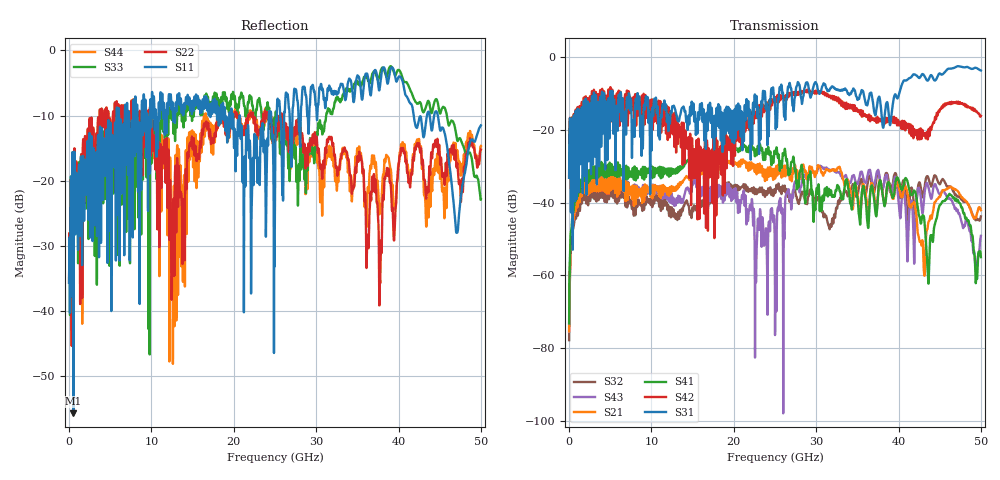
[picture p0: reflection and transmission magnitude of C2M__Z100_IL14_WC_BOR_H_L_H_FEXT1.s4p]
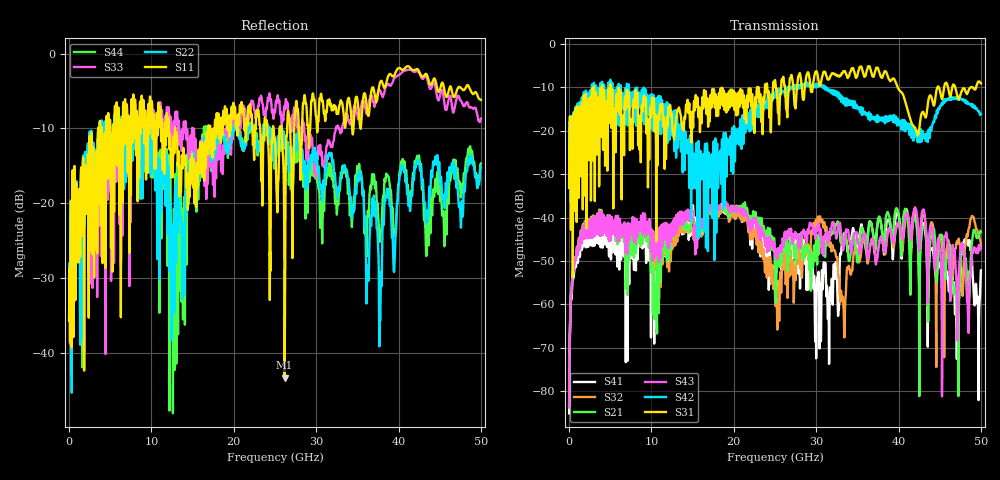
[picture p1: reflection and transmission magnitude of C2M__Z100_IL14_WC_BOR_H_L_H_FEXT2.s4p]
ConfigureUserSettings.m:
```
function [simSettings,simResources] = ConfigureUserSettings()
% Simulation Setting Configuration
    
    % Load S-parameter data (channel and crosstalk)
    % simSettings.channelFilename = 'DPO_10in_Meg7_THRU.s4p';
    % simSettings.crosstalkFilenames = {
    %                    'DPO_10in_Meg7_NENF1415.s4p',...
    %                    'DPO_10in_Meg7_NENF1112.s4p',...
    %                    'DPO_10in_Meg7_NENF89.s4p',...
    %                    'DPO_10in_Meg7_FENH1415.s4p',...
    %                    'DPO_10in_Meg7_FENH1112.s4p',...
    %                    'DPO_10in_Meg7_FENH89.s4p',...
    %                    'DPO_10in_Meg7_FENG1415.s4p',...
    %                    'DPO_10in_Meg7_FENG89.s4p'};

    % simSettings.channelFilename = 'DPO_12in_Meg7_THRU.s4p';
    % simSettings.crosstalkFilenames = {
    %                    'DPO_12in_Meg7_NENF1415.s4p',...
    %                    'DPO_12in_Meg7_NENF1112.s4p',...
    %                    'DPO_12in_Meg7_NENF89.s4p',...
    %                    'DPO_12in_Meg7_FENH1415.s4p',...
    %                    'DPO_12in_Meg7_FENH1112.s4p',...
    %                    'DPO_12in_Meg7_FENH89.s4p',...
    %                    'DPO_12in_Meg7_FENG1415.s4p',...
    %                    'DPO_12in_Meg7_FENG89.s4p'};

    % simSettings.channelFilename = 'DPO_14in_Meg7_THRU.s4p';
    % simSettings.crosstalkFilenames = {
    %                    'DPO_14in_Meg7_NENF1415.s4p',...
    %                    'DPO_14in_Meg7_NENF1112.s4p',...
    %                    'DPO_14in_Meg7_NENF89.s4p',...
    %                    'DPO_14in_Meg7_FENH1415.s4p',...
    %                    'DPO_14in_Meg7_FENH1112.s4p',...
    %                    'DPO_14in_Meg7_FENH89.s4p',...
    %                    'DPO_14in_Meg7_FENG1415.s4p',...
    %                    'DPO_14in_Meg7_FENG89.s4p'};

    simSettings.channelFilename = 'C2M__Z100_IL14_WC_BOR_H_L_H_THRU.s4p';
    simSettings.crosstalkFilenames = {
                       'C2M__Z100_IL14_WC_BOR_H_L_H_FEXT1.s4p',...
                       'C2M__Z100_IL14_WC_BOR_H_L_H_FEXT2.s4p',...
                       'C2M__Z100_IL14_WC_BOR_H_L_H_FEXT3.s4p',...
                       'C2M__Z100_IL14_WC_BOR_H_L_H_NEXT1.s4p',...
                       'C2M__Z100_IL14_WC_BOR_H_L_H_NEXT2.s4p',...
                       'C2M__Z100_IL14_WC_BOR_H_L_H_NEXT3.s4p',...
                       'C2M__Z100_IL14_WC_BOR_H_L_H_NEXT4.s4p'};

    % simSettings.channelFilename = 'TEC_Whisper27in_THRU_G14G15_07202016.s4p';
    % simSettings.crosstalkFilenames = {
    %                    'TEC_Whisper27in_FEXT_F11F12_to_G14G15_07212016.s4p',...
    %                    'TEC_Whisper27in_FEXT_F14F15_to_G14G15_07212016.s4p',...
    %                    'TEC_Whisper27in_FEXT_F17F18_to_G14G15_07212016.s4p',...
    %                    'TEC_Whisper27in_FEXT_G11G12_to_G14G15_07212016.s4p',...
    %                    'TEC_Whisper27in_FEXT_G17G18_to_G14G15_07212016.s4p',...
    %                    'TEC_Whisper27in_FEXT_H11H12_to_G14G15_07212016.s4p',...
    %                    'TEC_Whisper27in_FEXT_H14H15_to_G14G15_07212016.s4p',...
    %                    'TEC_Whisper27in_FEXT_H17H18_to_G14G15_07212016.s4p',...
    %                    'TEC_Whisper27in_NEXT_F11F12_to_G14G15_07212016.s4p',...
    %                    'TEC_Whisper27in_NEXT_F14F15_to_G14G15_07212016.s4p',...
    %                    'TEC_Whisper27in_NEXT_F17F18_to_G14G15_07212016.s4p',...
    %                    'TEC_Whisper27in_NEXT_G11G12_to_G14G15_07212016.s4p',...
    %                    'TEC_Whisper27in_NEXT_G17G18_to_G14G15_07212016.s4p',...
    %                    'TEC_Whisper27in_NEXT_H11H12_to_G14G15_07212016.s4p',...
    %                    'TEC_Whisper27in_NEXT_H14H15_to_G14G15_07212016.s4p',...
    %                    'TEC_Whisper27in_NEXT_H17H18_to_G14G15_07212016.s4p'};

    % Package Parameters
    simSettings.Cd = 100e-15;                                                   % Die-side capacitance (F) in π ladder model
    simSettings.Ls = 120e-12;                                                   % Series inductance (H) in π ladder model
    simSettings.Rs = 0;                                                         % Series resistance (Ohm) in π ladder model
    simSettings.Cb = 30e-15;                                                    % Bump-side capacitance (F) in π ladder model

    % Pre-cursors and post-cursors
    simSettings.trackPre  = 50;                                                 % Number of pre-cursors to track
    simSettings.trackPost = 100;                                                % Number of post-cursors to track
    simSettings.plotPre   = 5;                                                  % Number of pre-cursors to plot
    simSettings.plotPost  = 12;                                                 % Number of post-cursors to plot
    
    % Link settings
    simSettings.dataRate = 56 * 1e9;                                           % Data Rate (Hz)
    simSettings.pam = 4;                                                        % PAM levels (e.g. 2, 3, 4, 6, 8)
    simSettings.targetSER = 1e-4;                                               % Target SER
    simSettings.samplesPerSymb = 64;                                            % Samples per symbol
    simSettings.numSamples = 2^12;                                              % Number of samples to plot
    simSettings.numPlotPoints = 10000;                                          % Number of points to plot
    simSettings.jitterSampling = 0.01;                                          % Sampling jitter in UI (e.g., 0.01)
    simSettings.Tt = 0.4;                                                       % 20% - 80% rise/fall time in UI (e.g., 0.4)
    simSettings.txSNDR = 33;                                                    % In-band (Nyquist) TX SNDR in dB at 112 Gsym/s
    simSettings.rxPSD = 8e-9;                                                   % RX PSD (V^2/GHz)
    simSettings.diracSeparation = 0.02;                                         % Jitter pdf generation parameter in UI (e.g., 0.02)
    
    % Optimization Settings
    simSettings.opt.numTXFFE = 5;                                               % Number of precursor taps + 1 (main cursor)
    simSettings.opt.numRXFFE = 15;                                              % Number of RX FFE taps
    simSettings.opt.numRXDFE = 1;                                               % Number of RX DFE taps
    
    % Define parameters to sweep below in the format of (start : step : end)
    % or [val1, val2, val3, ...]

    % TX and RX termination resistance (Ohm)
    simSettings.sweep.txTerminationResistance = 50;
    simSettings.sweep.rxTerminationResistance = 50;
    
    % CTLE pole frequencies (Hz)
    % simSettings.sweep.ctle.fp1 = (20e9 : 500e7 : 30e9);
    % simSettings.sweep.ctle.fp2 = (500e6 : 100e6 : 900e6);
    % simSettings.sweep.ctle.fp3 = (50e9 : 1e9 : 56e9);
    simSettings.sweep.ctle.fp1 = (11.5e9 : 1000e7 : 21.5e9);
    simSettings.sweep.ctle.fp2 = (285e6 : 100e6 : 685e6);
    simSettings.sweep.ctle.fp3 = (28.6e9 : 2e9 : 36.6e9);
    
    % CTLE DC gains (dB)
    simSettings.sweep.ctle.g1 = (-20 : 5 : 0);
    simSettings.sweep.ctle.g2 = (-6 : 2 : 0);
    
    % RX front-end bandwidth limitation (Hz)
    % simSettings.sweep.rxBW = (25e9 : 1000e6 : 31e9);
    simSettings.sweep.rxBW = (25e9 : 1e9 : 31e9);

    % VGA gain (dB) and bandwidth (Hz)
    simSettings.sweep.vga.gain = (0 : 5 : 20);
    simSettings.sweep.vga.bw = 1e12;
    
    % Oversampling period
    simSettings.ts = 1/ simSettings.dataRate / simSettings.samplesPerSymb;

    % Simulation resources: initialize parallel pool
    if isempty(gcp('nocreate'))
        parpool;
    end
    
    % Simulation Resources: Do all of the rational fitting here
    [simSettings,simResources] = FitAllRationalModels(simSettings);
end


function [simSettings, simResources] = FitAllRationalModels(simSettings)
    cacheDir = 'rational_cache';
    if ~exist(cacheDir, 'dir')
        mkdir(cacheDir);  % Create a folder
    end

    %% === Main Channel ===
    baseName = matlab.lang.makeValidName(simSettings.channelFilename);
    cachePath = fullfile(cacheDir, [baseName '_main.mat']);

    if isfile(cachePath)
        fprintf('[INFO] Loading cached rational model for main channel: %s\n', simSettings.channelFilename);
        channel = load(cachePath, 'channel');
        simResources.channel = channel.channel;
        
        % Still need to load z0 separately
        S = sparameters(simSettings.channelFilename);
        simSettings.z0 = S.Impedance;
    else
        fprintf('[INFO] Fitting rational model for main channel: %s\n', simSettings.channelFilename);
        S = sparameters(simSettings.channelFilename);
        diffdata = s2sdd(S.Parameters);
        f = S.Frequencies;
        simSettings.z0 = S.Impedance;

        S_params = {
            squeeze(diffdata(1,1,:));
            squeeze(diffdata(1,2,:));
            squeeze(diffdata(2,1,:));
            squeeze(diffdata(2,2,:));
        };

        rS_params = cell(1,4);
        parfor k = 1:4
            rS_params{k} = rational(f, S_params{k}, 'Tolerance', -80);
        end

        channel.rS11 = rS_params{1};
        channel.rS12 = rS_params{2};
        channel.rS21 = rS_params{3};
        channel.rS22 = rS_params{4};

        simResources.channel = channel;
        save(cachePath, 'channel', '-v7.3');
        fprintf('[INFO] Saved main channel model: %s\n', cachePath);
    end

    %% === Crosstalk Channels ===
    numXT = numel(simSettings.crosstalkFilenames);
    filenames = simSettings.crosstalkFilenames;
    xtModels = cell(1, numXT);
    xtCachePaths = cell(1, numXT);
    xtNeedFit = false(1, numXT);

    for i = 1:numXT
        baseName = matlab.lang.makeValidName(filenames{i});
        path = fullfile(cacheDir, [baseName '_xt.mat']);
        xtCachePaths{i} = path;
        if ~isfile(path)
            fprintf('[INFO] Crosstalk model NOT found. Will fit: %s\n', filenames{i});
            xtNeedFit(i) = true;
        else
            fprintf('[INFO] Crosstalk model cached. Will load: %s\n', filenames{i});
        end
    end

    % Fit only the models that are missing
    parfor i = 1:numXT
        if xtNeedFit(i)
            file = filenames{i};
            S = sparameters(file);
            diffdata = s2sdd(S.Parameters);
            f = S.Frequencies;

            S_params = {
                squeeze(diffdata(1,1,:));
                squeeze(diffdata(1,2,:));
                squeeze(diffdata(2,1,:));
                squeeze(diffdata(2,2,:));
            };

            rS_params = cell(1,4);
            for k = 1:4
                rS_params{k} = rational(f, S_params{k}, 'Tolerance', -80);
            end

            localModel = struct();
            localModel.rS11 = rS_params{1};
            localModel.rS12 = rS_params{2};
            localModel.rS21 = rS_params{3};
            localModel.rS22 = rS_params{4};

            xtModels{i} = localModel;  % Safe to collect for post-parfor write
        end
    end

    % Save and assign to simResources
    simResources.crosstalk = repmat(struct('rS11', [], 'rS12', [], 'rS21', [], 'rS22', []), 1, numXT);
    for i = 1:numXT
        if xtNeedFit(i)
            model = xtModels{i};
            save(xtCachePaths{i}, 'model', '-v7.3');
            fprintf('[INFO] Saved crosstalk model: %s\n', filenames{i});
        else
            data = load(xtCachePaths{i}, 'model');
            model = data.model;
            fprintf('[INFO] Loaded crosstalk model: %s\n', filenames{i});
        end
        simResources.crosstalk(i) = model;
    end
end
```
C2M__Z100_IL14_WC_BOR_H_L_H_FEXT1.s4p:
# GHz S MA R 50
! S-Parameters data
! Freq  magS11  angS11  magS12  angS12  magS13  angS13  magS14  angS14
!  magS21  angS21  magS22  angS22  magS23  angS23  magS24  angS24
!  magS31  angS31  magS32  angS32  magS33  angS33  magS34  angS34
!  magS41  angS41  magS42  angS42  magS43  angS43  magS44  angS44
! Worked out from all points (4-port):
!   5000 points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, 10 MHz to 50 GHz, reference 50 ohm
!   strongest paths, dB at 10 MHz, 12.51 GHz, 25.01 GHz, 37.51 GHz, 50 GHz:
!     S31: -33.2, -13.7, -13.1, -11.5, -3.7
!     S42: -33.1, -16.5, -11.6, -17.6, -16.1
!     S41: -73.2, -31.6, -26.5, -37.7, -55.0
!     S21: -75.4, -36.5, -33.2, -37.7, -42.1
!     S43: -75.5, -38.7, -76.4, -31.0, -49.1
!     S32: -77.8, -42.2, -37.3, -31.6, -43.8
!   lowest |S11| = -55.7 dB at 540 MHz (marker M1), VSWR 1.00, Z = 50.1 - j0.0845 ohm
!   |S11| at or under -10 dB: start of sweep to 5.766 GHz; 20.73 GHz to 24.26 GHz (3.532 GHz wide, 15.7 % of centre); 44.77 GHz to end of sweep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
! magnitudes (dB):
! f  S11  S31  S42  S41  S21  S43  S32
! 10 MHz  -35.7  -33.2  -33.1  -73.2  -75.4  -75.5  -77.8
! 540 MHz  -55.7  -17.5  -16.9  -42.3  -44.7  -44.3  -46.8
! 50 GHz  -11.5  -3.7  -16.1  -55.0  -42.1  -49.1  -43.8
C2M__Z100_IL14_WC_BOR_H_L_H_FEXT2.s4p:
# GHz S MA R 50
! S-Parameters data
! Freq  magS11  angS11  magS12  angS12  magS13  angS13  magS14  angS14
!  magS21  angS21  magS22  angS22  magS23  angS23  magS24  angS24
!  magS31  angS31  magS32  angS32  magS33  angS33  magS34  angS34
!  magS41  angS41  magS42  angS42  magS43  angS43  magS44  angS44
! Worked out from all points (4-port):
!   5000 points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, 10 MHz to 50 GHz, reference 50 ohm
!   strongest paths, dB at 10 MHz, 12.51 GHz, 25.01 GHz, 37.51 GHz, 50 GHz:
!     S31: -33.2, -17.1, -8.3, -5.6, -9.1
!     S42: -33.1, -16.5, -11.6, -17.6, -16.1
!     S43: -83.5, -43.8, -48.5, -47.8, -47.0
!     S21: -83.8, -44.8, -55.2, -40.3, -43.3
!     S32: -83.2, -47.2, -58.4, -47.7, -46.6
!     S41: -85.1, -45.2, -53.0, -40.7, -52.2
!   lowest |S11| = -43.4 dB at 26.17 GHz (marker M1), VSWR 1.01, Z = 49.3 - j0.14 ohm
!   |S11| at or under -10 dB: start of sweep to 3.53 GHz; 12.13 GHz to 12.87 GHz (739.7 MHz wide, 5.92 % of centre); 12.9 GHz to 16.89 GHz (3.991 GHz wide, 26.8 % of centre)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
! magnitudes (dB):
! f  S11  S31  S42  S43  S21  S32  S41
! 10 MHz  -35.7  -33.2  -33.1  -83.5  -83.8  -83.2  -85.1
! 26.17 GHz  -43.4  -9.7  -11.4  -43.4  -44.0  -47.3  -44.8
! 50 GHz  -6.2  -9.1  -16.1  -47.0  -43.3  -46.6  -52.2
